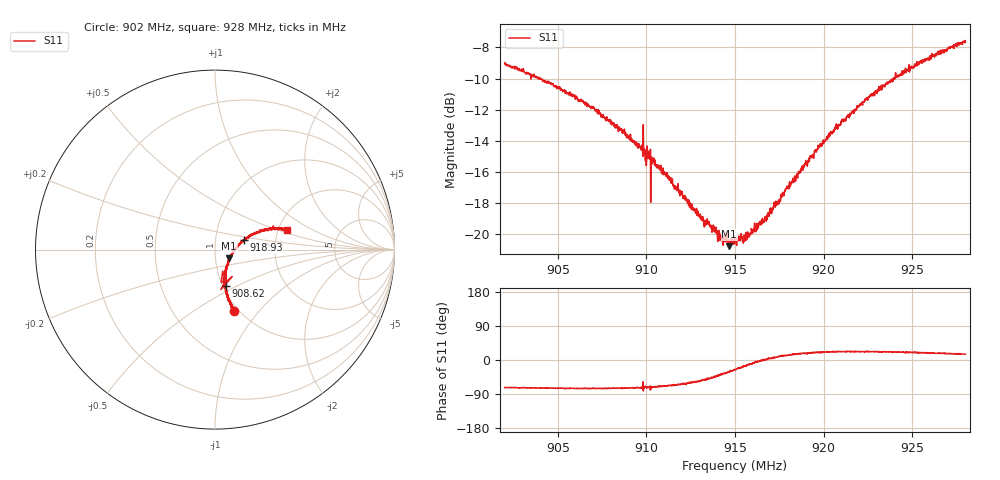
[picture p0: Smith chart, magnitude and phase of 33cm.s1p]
! Calibrated averaged scanner-service zoom
# Hz S RI R 50
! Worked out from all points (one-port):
!   2001 points, 902 MHz to 928 MHz, reference 50 ohm
!   lowest |S11| = -20.8 dB at 914.67 MHz (marker M1), VSWR 1.20, Z = 58.2 - j5.57 ohm
!   |S11| at or under -10 dB: 903.9708 MHz to 904.0238 MHz (53 kHz wide, 0.00586 % of centre); 904.05 MHz to 923.94 MHz (19.89 MHz wide, 2.18 % of centre); 923.948 MHz to 923.9858 MHz (37.78 kHz wide, 0.00409 % of centre) (the widest 3 of 7)
!   S11 on the Smith chart (normalised r, x): 902 MHz: 0.95, -0.74; 908.62 MHz: 1.03, -0.44; 918.93 MHz: 1.37, +0.15; 928 MHz: 2.23, +0.59
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9.02e8  0.1039 -0.3398
9.0525e8  0.0774 -0.2788
9.0707e8  0.0661 -0.2453
9.085e8  0.0575 -0.2076
9.08617e8  0.0604 -0.2043
9.0941e8  0.0579 -0.1893
9.09774e8  0.0504 -0.1876
9.10372e8  0.059 -0.1654
9.10398e8  0.0553 -0.1642
9.1071e8  0.0598 -0.1554
9.1175e8  0.0603 -0.1263
9.13232e8  0.0664 -0.0871
9.13505e8  0.0723 -0.081
9.14259e8  0.0794 -0.0583
9.1448e8  0.0787 -0.0524
9.14675e8  0.0785 -0.0474
9.15e8  0.0853 -0.0411
9.15273e8  0.0897 -0.0327
9.15546e8  0.0938 -0.0273
9.1669e8  0.1126 -9.94e-05
9.1825e8  0.1439 0.0362
9.18926e8  0.1595 0.053
9.20629e8  0.2031 0.0802
9.215e8  0.2272 0.0873
9.22709e8  0.2612 0.1055
9.2475e8  0.3156 0.1112
9.26102e8  0.3574 0.1187
9.28e8  0.4008 0.1097
